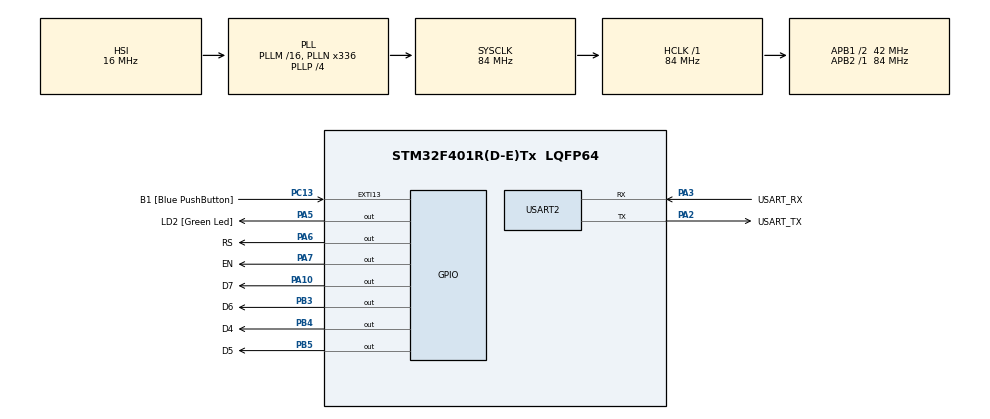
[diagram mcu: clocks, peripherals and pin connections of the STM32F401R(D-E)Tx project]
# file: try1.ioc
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Mcu.Family=STM32F4
Mcu.Name=STM32F401R(D-E)Tx
Mcu.Package=LQFP64
NVIC.PriorityGroup=NVIC_PRIORITYGROUP_0
PA10.GPIO_Label=D7
PA10.Signal=GPIO_Output
PA13.GPIO_Label=TMS
PA13.Mode=Serial_Wire
PA13.Signal=SYS_JTMS-SWDIO
PA14.GPIO_Label=TCK
PA14.Mode=Serial_Wire
PA14.Signal=SYS_JTCK-SWCLK
PA2.GPIO_Label=USART_TX
PA2.GPIO_Mode=GPIO_MODE_AF_PP
PA2.GPIO_PuPd=GPIO_NOPULL
PA2.GPIO_Speed=GPIO_SPEED_FREQ_LOW
PA2.Mode=Asynchronous
PA2.Signal=USART2_TX
PA3.GPIO_Label=USART_RX
PA3.GPIO_Mode=GPIO_MODE_AF_PP
PA3.GPIO_PuPd=GPIO_NOPULL
PA3.GPIO_Speed=GPIO_SPEED_FREQ_LOW
PA3.Mode=Asynchronous
PA3.Signal=USART2_RX
PA5.GPIO_Label=LD2 [Green Led]
PA5.GPIO_Mode=GPIO_MODE_OUTPUT_PP
PA5.GPIO_PuPd=GPIO_NOPULL
PA5.GPIO_Speed=GPIO_SPEED_FREQ_LOW
PA5.Signal=GPIO_Output
PA6.GPIO_Label=RS
PA6.Signal=GPIO_Output
PA7.GPIO_Label=EN
PA7.Signal=GPIO_Output
PB3.GPIO_Label=D6
PB3.Signal=GPIO_Output
PB4.GPIO_Label=D4
PB4.Signal=GPIO_Output
PB5.GPIO_Label=D5
PB5.Signal=GPIO_Output
PC13-ANTI_TAMP.GPIO_Label=B1 [Blue PushButton]
PC13-ANTI_TAMP.GPIO_ModeDefaultEXTI=GPIO_MODE_IT_FALLING
PC13-ANTI_TAMP.GPIO_PuPd=GPIO_NOPULL
PC13-ANTI_TAMP.Signal=GPXTI13
PC14-OSC32_IN.Mode=LSE-External-Oscillator
PC14-OSC32_IN.Signal=RCC_OSC32_IN
PC15-OSC32_OUT.Mode=LSE-External-Oscillator
PC15-OSC32_OUT.Signal=RCC_OSC32_OUT
PH0\ -\ OSC_IN.Mode=HSE-External-Clock-Source
PH0\ -\ OSC_IN.Signal=RCC_OSC_IN
PH1\ -\ OSC_OUT.Mode=HSE-External-Clock-Source
PH1\ -\ OSC_OUT.Signal=RCC_OSC_OUT
ProjectManager.HeapSize=0x200
ProjectManager.StackSize=0x400
ProjectManager.TargetToolchain=SW4STM32
RCC.48MHZClocksFreq_Value=48000000
RCC.AHBFreq_Value=84000000
RCC.APB1CLKDivider=RCC_HCLK_DIV2
RCC.APB1Freq_Value=42000000
RCC.APB1TimFreq_Value=84000000
RCC.APB2Freq_Value=84000000
RCC.APB2TimFreq_Value=84000000
RCC.CortexFreq_Value=84000000
RCC.HCLKFreq_Value=84000000
RCC.HSE_VALUE=8000000
RCC.HSI_VALUE=16000000
RCC.PLLN=336
RCC.PLLP=RCC_PLLP_DIV4
RCC.PLLQ=7
RCC.SYSCLKFreq_VALUE=84000000
RCC.SYSCLKSource=RCC_SYSCLKSOURCE_PLLCLK
RCC.VCOOutputFreq_Value=336000000
USART2.VirtualMode=VM_ASYNC
board=NUCLEO-F401RE

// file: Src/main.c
/* USER CODE BEGIN Header */
/**
  ******************************************************************************
  * @file           : main.c
  * @brief          : Main program body
  ******************************************************************************
  * @attention
  *
  * <h2><center>&copy; Copyright (c) 2020 STMicroelectronics.
  * All rights reserved.</center></h2>
  *
  * This software component is licensed by ST under BSD 3-Clause license,
  * the "License"; You may not use this file except in compliance with the
  * License. You may obtain a copy of the License at:
  *                        opensource.org/licenses/BSD-3-Clause
  *
  ******************************************************************************
  */
/* USER CODE END Header */
#include "main.h"
#include "lcd.h"

UART_HandleTypeDef huart2;

void SystemClock_Config(void);
static void MX_GPIO_Init(void);
static void MX_USART2_UART_Init(void);

int main(void)
{

  /* MCU Configuration--------------------------------------------------------*/

  /* Reset of all peripherals, Initializes the Flash interface and the Systick. */
  HAL_Init();

  /* Configure the system clock */
  SystemClock_Config();

  /* Initialize all configured peripherals */
  MX_GPIO_Init();
  MX_USART2_UART_Init();
  /* USER CODE BEGIN 2 */
  GPIO_Port ports[] = {
		  D4_GPIO_Port, D5_GPIO_Port, D6_GPIO_Port, D7_GPIO_Port
  };

  GPIO_Pin pins[] = {D4_Pin, D5_Pin, D6_Pin, D7_Pin};

  DisplayLCD lcd = lcd_generate(ports, pins, RS_GPIO_Port, RS_Pin, EN_GPIO_Port, EN_Pin);

  lcd_init(&lcd);

  HAL_Delay(5000);
  //lcd_shift_cursor(&lcd, RIGHT);
  //char* str = "ABCDEFGHIJKLMNOPQRSTUVWXYZ";
  //HAL_Delay(5000);
  lcd_pos_cursor(&lcd,(Coordinates){6,0});
  lcd_write_data(&lcd,"*");
  lcd_pos_cursor(&lcd,(Coordinates){6,1});
  lcd_write_data(&lcd,"*");
  lcd_pos_cursor(&lcd,(Coordinates){6,2});
  lcd_write_data(&lcd,"*");
  lcd_pos_cursor(&lcd,(Coordinates){6,3});
  lcd_write_data(&lcd,"*");
  HAL_Delay(5000);
  lcd_shift_display_matrix(&lcd, RIGHT);

  //Coordinates pos =  {10,2};
  //lcd_pos_cursor(&lcd,pos);
  //HAL_Delay(5000);
  //lcd_write_data(&lcd,str);
  //HAL_Delay(5000);
  //lcd_fast_shift(&lcd,1,25,500);
  //HAL_Delay(5000);
  //lcd_shift_cursor(&lcd,RIGHT);

  /* USER CODE END 2 */

  /* Infinite loop */
  while (1)
  {

  }
}

void SystemClock_Config(void)
{
  RCC_OscInitTypeDef RCC_OscInitStruct = {0};
  RCC_ClkInitTypeDef RCC_ClkInitStruct = {0};

  /** Configure the main internal regulator output voltage
  */
  __HAL_RCC_PWR_CLK_ENABLE();
  __HAL_PWR_VOLTAGESCALING_CONFIG(PWR_REGULATOR_VOLTAGE_SCALE2);
  /** Initializes the RCC Oscillators according to the specified parameters
  * in the RCC_OscInitTypeDef structure.
  */
  RCC_OscInitStruct.OscillatorType = RCC_OSCILLATORTYPE_HSI;
  RCC_OscInitStruct.HSIState = RCC_HSI_ON;
  RCC_OscInitStruct.HSICalibrationValue = RCC_HSICALIBRATION_DEFAULT;
  RCC_OscInitStruct.PLL.PLLState = RCC_PLL_ON;
  RCC_OscInitStruct.PLL.PLLSource = RCC_PLLSOURCE_HSI;
  RCC_OscInitStruct.PLL.PLLM = 16;
  RCC_OscInitStruct.PLL.PLLN = 336;
  RCC_OscInitStruct.PLL.PLLP = RCC_PLLP_DIV4;
  RCC_OscInitStruct.PLL.PLLQ = 7;
  if (HAL_RCC_OscConfig(&RCC_OscInitStruct) != HAL_OK)
  {
    Error_Handler();
  }
  /** Initializes the CPU, AHB and APB buses clocks
  */
  RCC_ClkInitStruct.ClockType = RCC_CLOCKTYPE_HCLK|RCC_CLOCKTYPE_SYSCLK
                              |RCC_CLOCKTYPE_PCLK1|RCC_CLOCKTYPE_PCLK2;
  RCC_ClkInitStruct.SYSCLKSource = RCC_SYSCLKSOURCE_PLLCLK;
  RCC_ClkInitStruct.AHBCLKDivider = RCC_SYSCLK_DIV1;
  RCC_ClkInitStruct.APB1CLKDivider = RCC_HCLK_DIV2;
  RCC_ClkInitStruct.APB2CLKDivider = RCC_HCLK_DIV1;

  if (HAL_RCC_ClockConfig(&RCC_ClkInitStruct, FLASH_LATENCY_2) != HAL_OK)
  {
    Error_Handler();
  }
}

static void MX_USART2_UART_Init(void)
{

  huart2.Instance = USART2;
  huart2.Init.BaudRate = 115200;
  huart2.Init.WordLength = UART_WORDLENGTH_8B;
  huart2.Init.StopBits = UART_STOPBITS_1;
  huart2.Init.Parity = UART_PARITY_NONE;
  huart2.Init.Mode = UART_MODE_TX_RX;
  huart2.Init.HwFlowCtl = UART_HWCONTROL_NONE;
  huart2.Init.OverSampling = UART_OVERSAMPLING_16;
  if (HAL_UART_Init(&huart2) != HAL_OK)
  {
    Error_Handler();
  }

}

static void MX_GPIO_Init(void)
{
  GPIO_InitTypeDef GPIO_InitStruct = {0};

  /* GPIO Ports Clock Enable */
  __HAL_RCC_GPIOC_CLK_ENABLE();
  __HAL_RCC_GPIOH_CLK_ENABLE();
  __HAL_RCC_GPIOA_CLK_ENABLE();
  __HAL_RCC_GPIOB_CLK_ENABLE();

  /*Configure GPIO pin Output Level */
  HAL_GPIO_WritePin(GPIOA, LD2_Pin|RS_Pin|EN_Pin|D7_Pin, GPIO_PIN_RESET);

  /*Configure GPIO pin Output Level */
  HAL_GPIO_WritePin(GPIOB, D6_Pin|D4_Pin|D5_Pin, GPIO_PIN_RESET);

  /*Configure GPIO pin : B1_Pin */
  GPIO_InitStruct.Pin = B1_Pin;
  GPIO_InitStruct.Mode = GPIO_MODE_IT_FALLING;
  GPIO_InitStruct.Pull = GPIO_NOPULL;
  HAL_GPIO_Init(B1_GPIO_Port, &GPIO_InitStruct);

  /*Configure GPIO pins : LD2_Pin RS_Pin EN_Pin D7_Pin */
  GPIO_InitStruct.Pin = LD2_Pin|RS_Pin|EN_Pin|D7_Pin;
  GPIO_InitStruct.Mode = GPIO_MODE_OUTPUT_PP;
  GPIO_InitStruct.Pull = GPIO_NOPULL;
  GPIO_InitStruct.Speed = GPIO_SPEED_FREQ_LOW;
  HAL_GPIO_Init(GPIOA, &GPIO_InitStruct);

  /*Configure GPIO pins : D6_Pin D4_Pin D5_Pin */
  GPIO_InitStruct.Pin = D6_Pin|D4_Pin|D5_Pin;
  GPIO_InitStruct.Mode = GPIO_MODE_OUTPUT_PP;
  GPIO_InitStruct.Pull = GPIO_NOPULL;
  GPIO_InitStruct.Speed = GPIO_SPEED_FREQ_LOW;
  HAL_GPIO_Init(GPIOB, &GPIO_InitStruct);

}

void Error_Handler(void)
{
}

/************************ (C) COPYRIGHT STMicroelectronics *****END OF FILE****/
